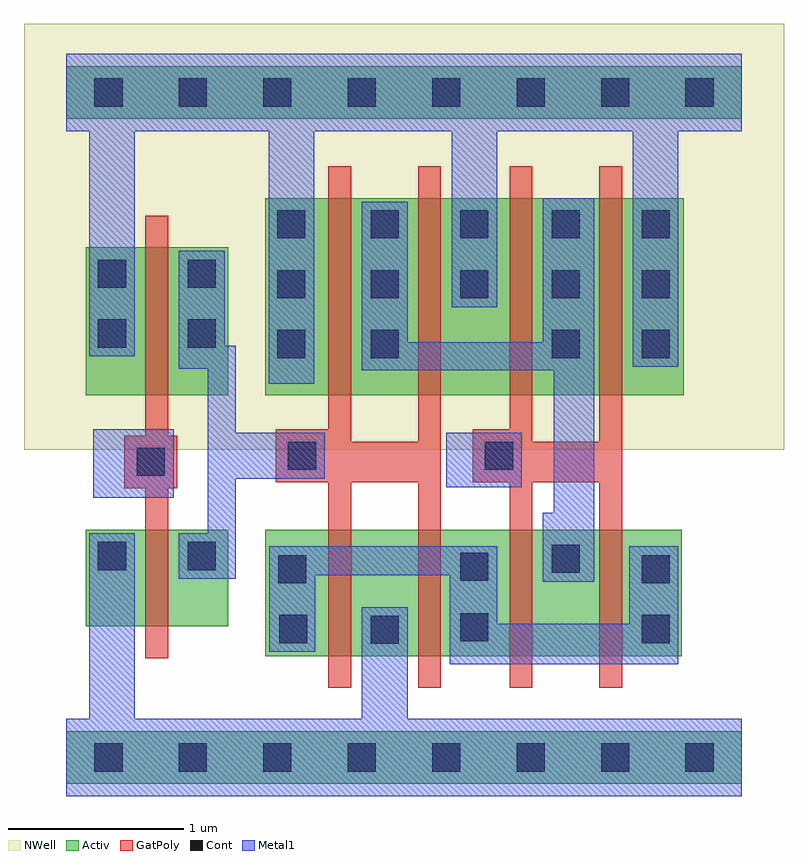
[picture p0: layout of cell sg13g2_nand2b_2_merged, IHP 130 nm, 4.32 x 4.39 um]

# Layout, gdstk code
import gdstk
lib = gdstk.Library(unit=1e-6, precision=1e-09)
def R(c, l, rs):  # rectangles x0, y0, x1, y1
    for r in rs: c.add(gdstk.rectangle(r[:2], r[2:], *l))
def A(c, l, x, y, w, h, nx, ny, dx, dy):  # array of equal rectangles
    R(c, l, [(x+i*dx, y+j*dy, x+i*dx+w, y+j*dy+h) for i in range(nx) for j in range(ny)])
def P(c, l, *ps):  # polygons
    for p in ps: c.add(gdstk.Polygon(p, *l))
Activ = (1, 0)
GatPoly = (5, 0)
Cont = (6, 0)
Metal1 = (8, 0)
NWell = (31, 0)

sg13g2_nand2b_2_merged = lib.new_cell('sg13g2_nand2b_2_merged')
R(sg13g2_nand2b_2_merged, Activ, [(0,-0.15,3.84,0.15), (1.13,0.575,3.5,1.295), (0.11,0.745,0.92,1.295), (0.11,2.06,0.92,2.9), (1.13,2.06,3.51,3.18), (0,3.63,3.84,3.93)])
P(sg13g2_nand2b_2_merged, GatPoly, [(0.45,0.565),(0.45,1.53),(0.33,1.53),(0.33,1.83),(0.45,1.83),(0.45,3.08),(0.58,3.08),(0.58,1.83),(0.63,1.83),(0.63,1.53),(0.58,1.53),(0.58,0.565)],
  [(1.49,0.395),(1.49,1.565),(1.19,1.565),(1.19,1.865),(1.49,1.865),(1.49,3.36),(1.62,3.36),(1.62,1.795),(2,1.795),(2,3.36),(2.13,3.36),(2.13,0.395),(2,0.395),(2,1.565),(1.62,1.565),(1.62,0.395)],
  [(2.52,0.395),(2.52,1.565),(2.31,1.565),(2.31,1.865),(2.52,1.865),(2.52,3.36),(2.65,3.36),(2.65,1.795),(3.03,1.795),(3.03,3.36),(3.16,3.36),(3.16,0.395),(3.03,0.395),(3.03,1.565),(2.65,1.565),(2.65,0.395)])
A(sg13g2_nand2b_2_merged, Cont, 0.16, -0.08, 0.16, 0.16, 8, 2, 0.48, 3.78)
A(sg13g2_nand2b_2_merged, Cont, 1.2, 2.27, 0.16, 0.16, 1, 3, 0, 0.34)
A(sg13g2_nand2b_2_merged, Cont, 1.73, 2.27, 0.16, 0.16, 1, 3, 0, 0.34)
A(sg13g2_nand2b_2_merged, Cont, 2.76, 2.27, 0.16, 0.16, 1, 3, 0, 0.34)
A(sg13g2_nand2b_2_merged, Cont, 3.27, 2.27, 0.16, 0.16, 1, 3, 0, 0.34)
R(sg13g2_nand2b_2_merged, Cont, [(1.73,0.645,1.89,0.805), (1.21,0.65,1.37,0.81), (3.27,0.65,3.43,0.81), (2.24,0.66,2.4,0.82), (1.205,0.99,1.365,1.15), (3.27,0.99,3.43,1.15), (2.24,1.005,2.4,1.165), (2.76,1.05,2.92,1.21), (0.18,1.065,0.34,1.225), (0.69,1.065,0.85,1.225), (0.4,1.6,0.56,1.76), (1.26,1.635,1.42,1.795), (2.38,1.635,2.54,1.795), (0.18,2.33,0.34,2.49), (0.69,2.33,0.85,2.49), (2.24,2.61,2.4,2.77), (0.18,2.67,0.34,2.83), (0.69,2.67,0.85,2.83), (2.24,2.95,2.4,3.11)])
R(sg13g2_nand2b_2_merged, Metal1, [(0.155,1.475,0.61,1.865), (2.16,1.535,2.59,1.845)])
P(sg13g2_nand2b_2_merged, Metal1, [(2.18,0.53),(2.18,1.035),(1.415,1.035),(1.415,0.6),(1.155,0.6),(1.155,1.2),(2.45,1.2),(2.45,0.76),(3.2,0.76),(3.2,1.2),(3.48,1.2),(3.48,0.53)],
  [(0,-0.22),(0,0.22),(0.13,0.22),(0.13,1.275),(0.39,1.275),(0.39,0.22),(1.68,0.22),(1.68,0.855),(1.94,0.855),(1.94,0.22),(3.84,0.22),(3.84,-0.22)],
  [(0.64,1.015),(0.64,1.275),(0.805,1.275),(0.805,2.21),(0.64,2.21),(0.64,2.88),(0.9,2.88),(0.9,2.34),(0.965,2.34),(0.965,1.845),(1.47,1.845),(1.47,1.585),(0.965,1.585),(0.965,1.015)],
  [(2.71,1),(2.71,1.39),(2.77,1.39),(2.77,2.2),(1.68,2.2),(1.68,3.16),(1.94,3.16),(1.94,2.36),(2.71,2.36),(2.71,3.18),(3,3.18),(3,1)],
  [(1.15,2.125),(1.15,3.56),(0.39,3.56),(0.39,2.28),(0.13,2.28),(0.13,3.56),(0,3.56),(0,4),(3.84,4),(3.84,3.56),(3.48,3.56),(3.48,2.22),(3.22,2.22),(3.22,3.56),(2.45,3.56),(2.45,2.56),(2.19,2.56),(2.19,3.56),(1.41,3.56),(1.41,2.125)])
R(sg13g2_nand2b_2_merged, NWell, [(-0.24,1.75,4.08,4.17)])

lib.write_gds('sg13g2_nand2b_2_merged.gds')
